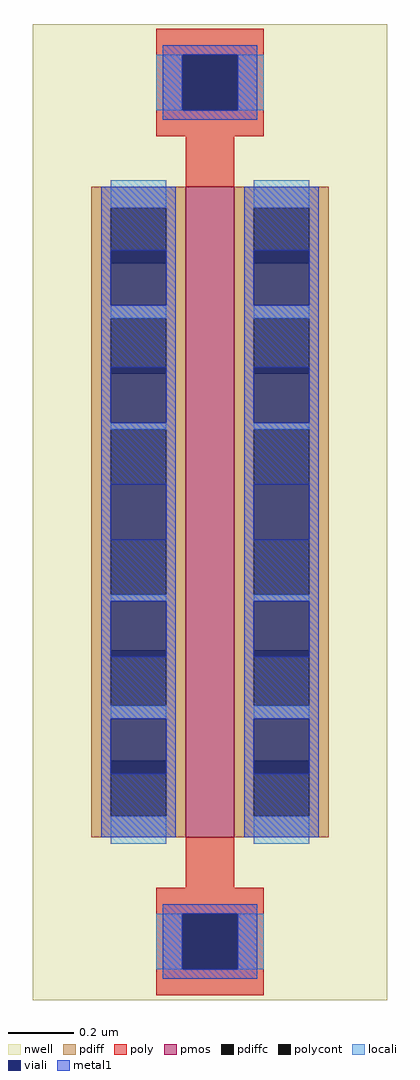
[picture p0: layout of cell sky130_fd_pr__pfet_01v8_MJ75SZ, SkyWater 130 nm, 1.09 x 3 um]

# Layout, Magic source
magic
tech sky130B
magscale 1 2
<< nwell >>
rect -109 -300 109 300
<< pmos >>
rect -15 -200 15 200
<< pdiff >>
rect -73 187 -15 200
rect -73 153 -61 187
rect -27 153 -15 187
rect -73 119 -15 153
rect -73 85 -61 119
rect -27 85 -15 119
rect -73 51 -15 85
rect -73 17 -61 51
rect -27 17 -15 51
rect -73 -17 -15 17
rect -73 -51 -61 -17
rect -27 -51 -15 -17
rect -73 -85 -15 -51
rect -73 -119 -61 -85
rect -27 -119 -15 -85
rect -73 -153 -15 -119
rect -73 -187 -61 -153
rect -27 -187 -15 -153
rect -73 -200 -15 -187
rect 15 187 73 200
rect 15 153 27 187
rect 61 153 73 187
rect 15 119 73 153
rect 15 85 27 119
rect 61 85 73 119
rect 15 51 73 85
rect 15 17 27 51
rect 61 17 73 51
rect 15 -17 73 17
rect 15 -51 27 -17
rect 61 -51 73 -17
rect 15 -85 73 -51
rect 15 -119 27 -85
rect 61 -119 73 -85
rect 15 -153 73 -119
rect 15 -187 27 -153
rect 61 -187 73 -153
rect 15 -200 73 -187
<< pdiffc >>
rect -61 153 -27 187
rect -61 85 -27 119
rect -61 17 -27 51
rect -61 -51 -27 -17
rect -61 -119 -27 -85
rect -61 -187 -27 -153
rect 27 153 61 187
rect 27 85 61 119
rect 27 17 61 51
rect 27 -51 61 -17
rect 27 -119 61 -85
rect 27 -187 61 -153
<< poly >>
rect -33 281 33 297
rect -33 247 -17 281
rect 17 247 33 281
rect -33 231 33 247
rect -15 200 15 231
rect -15 -231 15 -200
rect -33 -247 33 -231
rect -33 -281 -17 -247
rect 17 -281 33 -247
rect -33 -297 33 -281
<< polycont >>
rect -17 247 17 281
rect -17 -281 17 -247
<< locali >>
rect -33 247 -17 281
rect 17 247 33 281
rect -61 187 -27 204
rect -61 119 -27 127
rect -61 51 -27 55
rect -61 -55 -27 -51
rect -61 -127 -27 -119
rect -61 -204 -27 -187
rect 27 187 61 204
rect 27 119 61 127
rect 27 51 61 55
rect 27 -55 61 -51
rect 27 -127 61 -119
rect 27 -204 61 -187
rect -33 -281 -17 -247
rect 17 -281 33 -247
<< viali >>
rect -17 247 17 281
rect -61 153 -27 161
rect -61 127 -27 153
rect -61 85 -27 89
rect -61 55 -27 85
rect -61 -17 -27 17
rect -61 -85 -27 -55
rect -61 -89 -27 -85
rect -61 -153 -27 -127
rect -61 -161 -27 -153
rect 27 153 61 161
rect 27 127 61 153
rect 27 85 61 89
rect 27 55 61 85
rect 27 -17 61 17
rect 27 -85 61 -55
rect 27 -89 61 -85
rect 27 -153 61 -127
rect 27 -161 61 -153
rect -17 -281 17 -247
<< metal1 >>
rect -29 281 29 287
rect -29 247 -17 281
rect 17 247 29 281
rect -29 241 29 247
rect -67 161 -21 200
rect -67 127 -61 161
rect -27 127 -21 161
rect -67 89 -21 127
rect -67 55 -61 89
rect -27 55 -21 89
rect -67 17 -21 55
rect -67 -17 -61 17
rect -27 -17 -21 17
rect -67 -55 -21 -17
rect -67 -89 -61 -55
rect -27 -89 -21 -55
rect -67 -127 -21 -89
rect -67 -161 -61 -127
rect -27 -161 -21 -127
rect -67 -200 -21 -161
rect 21 161 67 200
rect 21 127 27 161
rect 61 127 67 161
rect 21 89 67 127
rect 21 55 27 89
rect 61 55 67 89
rect 21 17 67 55
rect 21 -17 27 17
rect 61 -17 67 17
rect 21 -55 67 -17
rect 21 -89 27 -55
rect 61 -89 67 -55
rect 21 -127 67 -89
rect 21 -161 27 -127
rect 61 -161 67 -127
rect 21 -200 67 -161
rect -29 -247 29 -241
rect -29 -281 -17 -247
rect 17 -281 29 -247
rect -29 -287 29 -281
<< end >>
